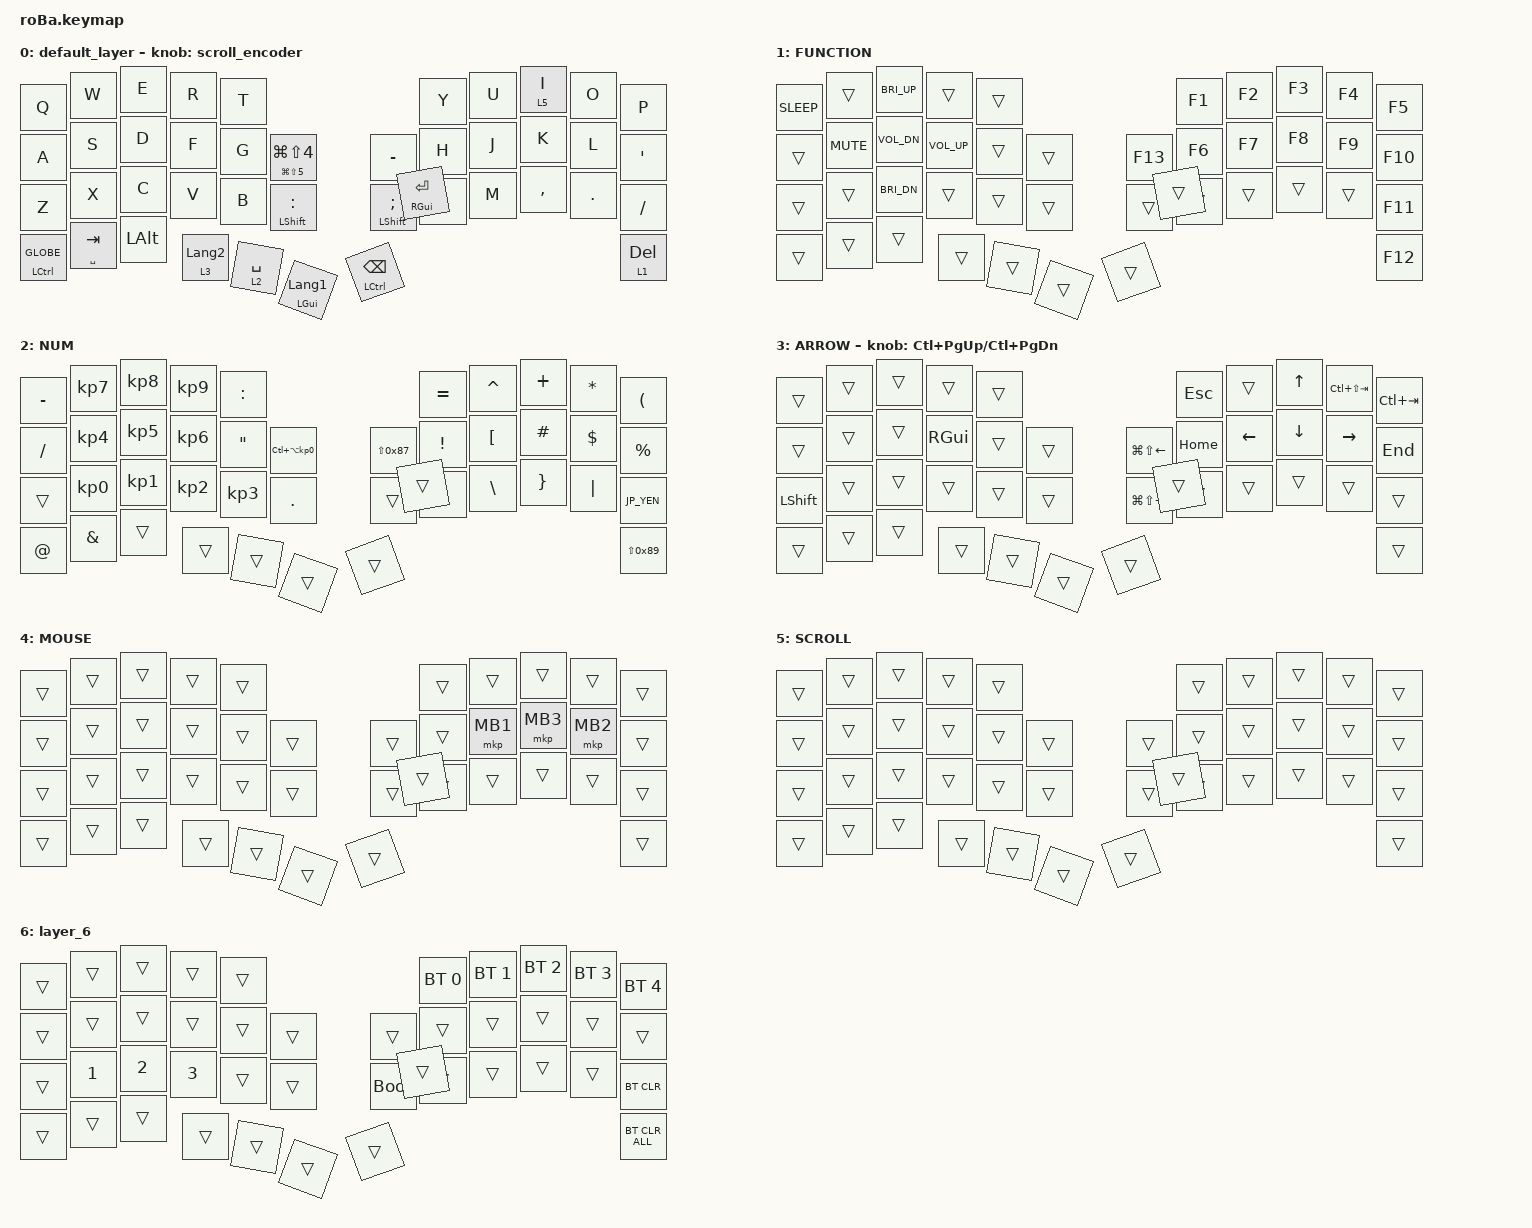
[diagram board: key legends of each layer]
#include <behaviors.dtsi>
#include <dt-bindings/zmk/bt.h>
#include <dt-bindings/zmk/keys.h>
#include <dt-bindings/zmk/pointing.h>

// MacのJIS配列キーボード設定用の変換定義
// OS設定を「日本語キーボード」にしたまま正しい記号を入力できるようにします
#define JP_DQUOTE       AT                // "（ダブルクォーテーション）
#define JP_AMPERSAND    CARET             // &（アンパサンド）
#define JP_QUOTE        AMPERSAND         // '（シングルクォート）
#define JP_EQUAL        UNDER             // =（イコール）
#define JP_CARET        EQUAL             // ^（キャレット）
#define JP_YEN          0x89              // ¥（円記号）
#define JP_PLUS         COLON             // +（プラス）
#define JP_TILDE        PLUS              // ~（チルダ）
#define JP_PIPE         LS(0x89)          // |（パイプ）
#define JP_AT           LEFT_BRACKET      // @（アットマーク）
#define JP_COLON        SINGLE_QUOTE      // :（コロン）
#define JP_ASTERISK     DOUBLE_QUOTES     // *（アスタリスク）
#define JP_BACKQUOTE    LEFT_BRACE        // `（バッククォート）
#define JP_UNDERSCORE   LS(0x87)          // _（アンダースコア）
#define JP_LBRACKET     RIGHT_BRACKET     // [（左角カッコ）
#define JP_RBRACKET     BACKSLASH         // ]（右角カッコ）
#define JP_LPAREN       ASTERISK          // (（左丸カッコ）
#define JP_RPAREN       LEFT_PARENTHESIS  // )（右丸カッコ）
#define JP_LBRACE       RIGHT_BRACE       // {（左波カッコ）
#define JP_RBRACE       PIPE              // }（右波カッコ）
#define JP_KANA         LANGUAGE_1        // かな（日本語入力ON）
#define JP_EISU         LANGUAGE_2        // 英数（英語入力）
#define JP_HANZEN       GRAVE             // 半角/全角

&mt {
    flavor = "balanced";
    quick-tap-ms = <0>;
};

&trackball {
    automouse-layer = <4>;
    scroll-layers = <5>;

    // arrows {
    //     layers = <3>;
    //     bindings =
    //         <&kp RIGHT_ARROW>,
    //         <&kp LEFT_ARROW>,
    //         <&kp UP_ARROW>,
    //         <&kp DOWN_ARROW>;

    //     tick = <10>;
    //     wait-ms = <5>;
    //     tap-ms = <5>;
    // };
};

/ {
    conditional_layers {
        compatible = "zmk,conditional-layers";

        // 左親指の &lt 2 SPACE と 右親指の &lt 1 DEL を同時に押しっぱなしにすると
        // 設定レイヤー(6) が有効になる。BT_SEL / BT_CLR はこのレイヤーにある。
        //
        // 元々は かなキーの &lt_to_layer_0 6 JP_KANA が唯一の入口だったが、
        // 7f7430e「かなキーの長押し動作をCommandキーに戻す」で &mt LGUI JP_KANA に
        // 置き換えた際に入口ごと失われ、レイヤー6 が到達不能になっていた。
        // かなキーの Command を維持したいので、入口は別のキーに用意する。
        bt_settings {
            if-layers = <1 2>;
            then-layer = <6>;
        };
    };

    combos {
        compatible = "zmk,combos";

        esc {
            bindings = <&kp ESCAPE>;
            key-positions = <0 1>;
        };

        tab {
            bindings = <&kp TAB>;
            key-positions = <11 12>;
        };

        shift_tab {
            bindings = <&kp LS(TAB)>;
            key-positions = <12 13>;
        };

        muhennkann {
            bindings = <&to_layer_0 JP_EISU>;
            key-positions = <11 10>;
        };

        double_quotation {
            bindings = <&kp JP_DQUOTE>;
            key-positions = <20 21>;
        };

        eq {
            bindings = <&kp JP_EQUAL>;
            key-positions = <24 25>;
        };

        raycast {
            bindings = <&kp LA(SPACE)>;
            key-positions = <36 38>;
            timeout-ms = <100>;
        };
    };

    macros {
        to_layer_0: to_layer_0 {
            compatible = "zmk,behavior-macro-one-param";
            #binding-cells = <1>;
            bindings = <&to 0 &macro_param_1to1 &kp MACRO_PLACEHOLDER>;
            label = "TO_LAYER_0";
        };
    };

    behaviors {
        lt_to_layer_0: lt_to_layer_0 {
            compatible = "zmk,behavior-hold-tap";
            label = "LAYER_TAP_TO_0";
            bindings = <&mo>, <&to_layer_0>;

            #binding-cells = <2>;
            tapping-term-ms = <200>;
        };

        scroll_encoder: scroll_encoder {
            compatible = "zmk,behavior-sensor-rotate";
            #sensor-binding-cells = <0>;
            bindings = <&msc SCRL_UP>, <&msc SCRL_DOWN>;

            tap-ms = <30>;
        };
    };

    keymap {
        compatible = "zmk,keymap";

        default_layer {
            bindings = <
&kp Q             &kp W         &kp E         &kp R            &kp T                                                  &kp Y        &kp U  &lt 5 I    &kp O    &kp P
&kp A             &kp S         &kp D         &kp F            &kp G        &mt LG(LS(N5)) LG(LS(N4))                &kp MINUS      &kp H        &kp J  &kp K      &kp L    &kp SQT
&kp Z             &kp X         &kp C         &kp V            &kp B        &mt LEFT_SHIFT COLON                    &mt LEFT_SHIFT SEMICOLON  &kp N        &kp M  &kp COMMA  &kp DOT  &kp SLASH
&mt LCTRL GLOBE   &mt SPACE TAB   &kp LEFT_ALT  &lt_to_layer_0 3 JP_EISU  &lt 2 SPACE  &mt LGUI JP_KANA      &mt LCTRL BACKSPACE  &mt RGUI ENTER                   &lt 1 DEL
            >;

            sensor-bindings = <&scroll_encoder>;
        };

        FUNCTION {
            bindings = <
&kp C_SLEEP  &trans  &kp C_BRI_UP  &trans        &trans                          &kp F1  &kp F2  &kp F3  &kp F4  &kp F5
&trans  &kp C_MUTE  &kp C_VOL_DN  &kp C_VOL_UP  &trans  &trans      &kp F13     &kp F6  &kp F7  &kp F8  &kp F9  &kp F10
&trans  &trans      &kp C_BRI_DN  &trans        &trans  &trans      &trans      &trans  &trans  &trans  &trans  &kp F11
&trans  &trans      &trans        &trans        &trans  &trans      &trans      &trans                          &kp F12
            >;
        };

        NUM {
            bindings = <
&kp MINUS                   &kp KP_NUMBER_7  &kp KP_NUMBER_8  &kp KP_NUMBER_9  &kp JP_PLUS                                                    &kp JP_CARET      &kp JP_AMPERSAND   &kp JP_TILDE    &kp JP_LPAREN   &kp JP_RPAREN
&kp SLASH                   &kp KP_NUMBER_4  &kp KP_NUMBER_5  &kp KP_NUMBER_6  &kp JP_ASTERISK  &kp LC(LA(KP_NUMBER_0))      &kp JP_UNDERSCORE  &kp EXCLAMATION   &kp JP_AT          &kp HASH        &kp DOLLAR      &kp PERCENT
&trans  &kp KP_NUMBER_0             &kp KP_NUMBER_1  &kp KP_NUMBER_2  &kp KP_NUMBER_3  &kp PERIOD                 &trans             &kp JP_LBRACKET   &kp JP_RBRACKET    &kp JP_LBRACE   &kp JP_RBRACE   &kp JP_YEN
&kp JP_DQUOTE               &kp JP_QUOTE     &trans           &trans           &trans           &trans                       &trans             &trans                                                               &kp JP_PIPE
            >;
        };

        ARROW {
            bindings = <
&trans          &trans  &trans  &trans  &trans                                                                        &kp ESCAPE              &trans          &kp UP_ARROW    &kp LC(LS(TAB))  &kp LC(TAB)
&trans          &trans  &trans  &kp RGUI  &trans  &trans      &kp LG(LS(LEFT_ARROW))   &kp HOME                         &kp LEFT_ARROW  &kp DOWN_ARROW  &kp RIGHT_ARROW  &kp END
&kp LEFT_SHIFT  &trans  &trans  &trans  &trans  &trans      &kp LG(LS(RIGHT_ARROW))  &trans                           &trans          &trans          &trans           &trans
&trans          &trans  &trans  &trans  &trans  &trans      &trans                   &trans                                                                            &trans
            >;

            sensor-bindings = <&inc_dec_kp LC(PAGE_UP) LC(PAGE_DOWN)>;
        };

        MOUSE {
            bindings = <
&trans  &trans  &trans  &trans  &trans                      &trans  &trans    &trans    &trans    &trans
&trans  &trans  &trans  &trans  &trans  &trans      &trans  &trans  &mkp MB1  &mkp MB3  &mkp MB2  &trans
&trans  &trans  &trans  &trans  &trans  &trans      &trans  &trans  &trans    &trans    &trans    &trans
&trans  &trans  &trans  &trans  &trans  &trans      &trans  &trans                                &trans
            >;
        };

        SCROLL {
            bindings = <
&trans  &trans  &trans  &trans  &trans                      &trans  &trans  &trans  &trans  &trans
&trans  &trans  &trans  &trans  &trans  &trans      &trans  &trans  &trans  &trans  &trans  &trans
&trans  &trans  &trans  &trans  &trans  &trans      &trans  &trans  &trans  &trans  &trans  &trans
&trans  &trans  &trans  &trans  &trans  &trans      &trans  &trans                          &trans
            >;
        };

        layer_6 {
            bindings = <
&trans  &trans        &trans        &trans        &trans                           &bt BT_SEL 0  &bt BT_SEL 1  &bt BT_SEL 2  &bt BT_SEL 3  &bt BT_SEL 4
&trans  &trans        &trans        &trans        &trans  &trans      &trans       &trans        &trans        &trans        &trans        &trans
&trans  &kp NUMBER_1  &kp NUMBER_2  &kp NUMBER_3  &trans  &trans      &bootloader  &trans        &trans        &trans        &trans        &bt BT_CLR
&trans  &trans        &trans        &trans        &trans  &trans      &trans       &trans                                                  &bt BT_CLR_ALL
            >;
        };
    };
};
